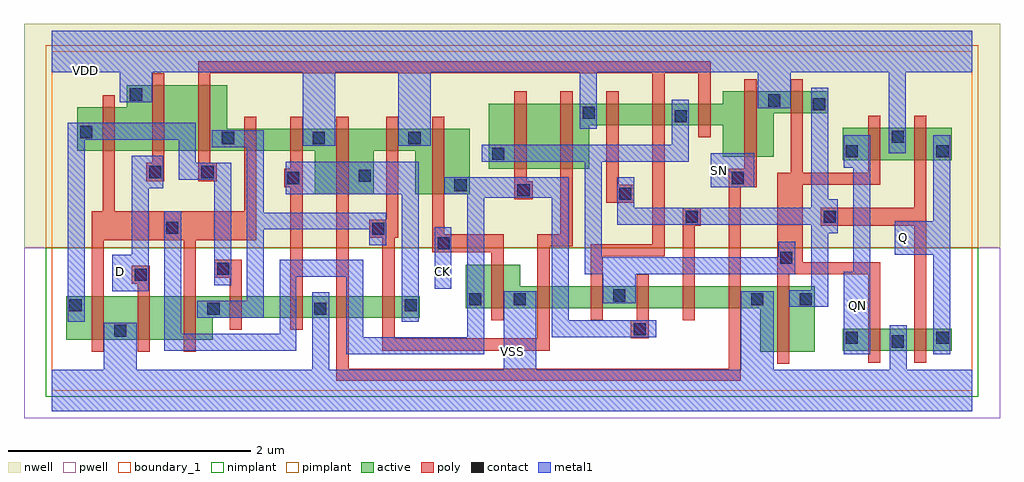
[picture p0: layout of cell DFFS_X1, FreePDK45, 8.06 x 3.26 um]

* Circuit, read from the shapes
.subckt DFFS_X1 CK D Q QN SN VDD VSS
M1 VSS n1 n2 VSUBS nfet w=0.36u l=0.1u
M2 n3 D VSS VSUBS nfet w=0.36u l=0.1u
M3 n4 n1 n3 VSUBS nfet w=0.36u l=0.1u
M4 n5 n2 n4 VSUBS nfet w=0.18u l=0.1u
M5 VSS n6 n5 VSUBS nfet w=0.18u l=0.1u
M6 n7 SN VSS VSUBS nfet w=0.18u l=0.1u
M7 n6 n4 n7 VSUBS nfet w=0.18u l=0.1u
M8 VSS CK n1 VSUBS nfet w=0.36u l=0.1u
M9 n8 n4 VSS VSUBS nfet w=0.18u l=0.1u
M10 n9 n2 n8 VSUBS nfet w=0.18u l=0.1u
M11 n10 n1 n9 VSUBS nfet w=0.18u l=0.1u
M12 n11 n12 n10 VSUBS nfet w=0.18u l=0.1u
M13 VSS SN n11 VSUBS nfet w=0.18u l=0.1u
M14 n12 n9 VSS VSUBS nfet w=0.54u l=0.1u
M15 VSS n9 QN VSUBS nfet w=0.18u l=0.1u
M16 Q n12 VSS VSUBS nfet w=0.18u l=0.1u
M17 VDD n1 n2 n13 pfet w=0.36u l=0.1u
M18 n14 D VDD n13 pfet w=0.54u l=0.1u
M19 n4 n2 n14 n13 pfet w=0.54u l=0.1u
M20 n15 n1 n4 n13 pfet w=0.18u l=0.1u
M21 VDD n6 n15 n13 pfet w=0.18u l=0.1u
M22 n6 SN VDD n13 pfet w=0.54u l=0.1u
M23 VDD n4 n6 n13 pfet w=0.18u l=0.1u
M24 n1 CK VDD n13 pfet w=0.54u l=0.1u
M25 n16 n1 n9 n13 pfet w=0.54u l=0.1u
M26 VDD n4 n16 n13 pfet w=0.54u l=0.1u
M27 n17 n12 VDD n13 pfet w=0.18u l=0.1u
M28 n9 n2 n17 n13 pfet w=0.18u l=0.1u
M29 n18 n2 n9 n13 pfet w=0.18u l=0.1u
M30 VDD SN n18 n13 pfet w=0.54u l=0.1u
M31 n12 n9 VDD n13 pfet w=0.18u l=0.1u
M32 VDD n9 QN n13 pfet w=0.27u l=0.1u
M33 Q n12 VDD n13 pfet w=0.27u l=0.1u
.ends

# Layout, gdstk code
import gdstk
lib = gdstk.Library(unit=1e-6, precision=1e-09)
def R(c, l, rs):  # rectangles x0, y0, x1, y1
    for r in rs: c.add(gdstk.rectangle(r[:2], r[2:], *l))
def P(c, l, *ps):  # polygons
    for p in ps: c.add(gdstk.Polygon(p, *l))
active = (1, 0)
pwell = (2, 0)
nwell = (3, 0)
nimplant = (4, 0)
pimplant = (5, 0)
poly = (9, 0)
contact = (10, 0)
metal1 = (11, 0)
boundary_1 = (235, 1)

dffs_x1 = lib.new_cell('DFFS_X1')
R(dffs_x1, active, [(6.53,0.33,7.43,0.51), (6.53,1.9,7.43,2.17)])
P(dffs_x1, active, [(3.61,1.83),(4.44,1.83),(4.44,2.19),(5.54,2.19),(5.54,1.93),(5.96,1.93),(5.96,2.29),(6.41,2.29),(6.41,2.47),(5.54,2.47),(5.54,2.37),(3.61,2.37)],
  [(3.42,0.68),(5.85,0.68),(5.85,0.32),(6.3,0.32),(6.3,0.86),(3.87,0.86),(3.87,1.04),(3.42,1.04)],
  [(0.21,1.98),(2.17,1.98),(2.17,1.62),(2.66,1.62),(2.66,1.98),(3,1.98),(3,1.62),(3.45,1.62),(3.45,2.16),(1.45,2.16),(1.45,2.52),(0.62,2.52),(0.62,2.34),(0.21,2.34)],
  [(0.12,0.42),(1.33,0.42),(1.33,0.6),(3.04,0.6),(3.04,0.78),(0.12,0.78)])
R(dffs_x1, pwell, [(-0.23,-0.23,7.83,1.18)])
R(dffs_x1, nwell, [(-0.23,1.18,7.83,3.03)])
R(dffs_x1, nimplant, [(-0.05,-0.05,7.65,1.18)])
R(dffs_x1, pimplant, [(-0.05,1.18,7.65,2.85)])
P(dffs_x1, poly, [(6.35,1.36),(7.12,1.36),(7.12,0.23),(7.22,0.23),(7.22,2.27),(7.12,2.27),(7.12,1.51),(6.35,1.51)],
  [(6.2,1.7),(6.84,1.7),(6.84,2.27),(6.74,2.27),(6.74,1.8),(6.2,1.8),(6.2,2.57),(6.1,2.57),(6.1,1.8),(5.99,1.8),(5.99,0.22),(6.09,0.22),(6.09,0.96),(6.74,0.96),(6.74,0.23),(6.84,0.23),(6.84,1.06),(6.2,1.06)],
  [(2.35,0.08),(5.69,0.08),(5.69,1.68),(5.82,1.68),(5.82,2.57),(5.72,2.57),(5.72,1.83),(5.59,1.83),(5.59,0.18),(2.45,0.18),(2.45,2.26),(2.35,2.26)],
  [(1.31,2.62),(4.96,2.62),(4.96,1.21),(4.45,1.21),(4.45,0.58),(4.55,0.58),(4.55,1.11),(5.06,1.11),(5.06,2.62),(5.34,2.62),(5.34,2.09),(5.44,2.09),(5.44,2.72),(1.21,2.72),(1.21,1.73),(1.36,1.73),(1.36,1.88),(1.31,1.88)],
  [(5.21,0.58),(5.31,0.58),(5.31,1.36),(5.36,1.36),(5.36,1.51),(5.21,1.51)],
  [(4.78,0.43),(4.93,0.43),(4.93,0.96),(4.83,0.96),(4.83,0.58),(4.78,0.58)],
  [(4.58,1.55),(4.81,1.55),(4.81,1.7),(4.68,1.7),(4.68,2.47),(4.58,2.47)],
  [(2.62,1.26),(2.73,1.26),(2.73,0.33),(4.11,0.33),(4.11,1.19),(4.3,1.19),(4.3,2.47),(4.2,2.47),(4.2,1.29),(4.01,1.29),(4.01,0.43),(2.83,0.43),(2.83,1.26),(2.86,1.26),(2.86,2.26),(2.76,2.26),(2.76,1.41),(2.62,1.41)],
  [(3.82,1.58),(3.97,1.58),(3.97,1.73),(3.92,1.73),(3.92,2.47),(3.82,2.47)],
  [(3.14,1.14),(3.63,1.14),(3.63,0.58),(3.73,0.58),(3.73,1.29),(3.24,1.29),(3.24,2.26),(3.14,2.26)],
  [(1.92,1.68),(1.97,1.68),(1.97,0.5),(2.07,0.5),(2.07,2.26),(1.97,2.26),(1.97,1.83),(1.92,1.83)],
  [(0.33,0.32),(0.43,0.32),(0.43,1.24),(1.09,1.24),(1.09,0.32),(1.19,0.32),(1.19,1.24),(1.69,1.24),(1.69,2.26),(1.59,2.26),(1.59,1.48),(0.52,1.48),(0.52,2.44),(0.42,2.44),(0.42,1.48),(0.33,1.48)],
  [(1.34,0.93),(1.47,0.93),(1.47,0.5),(1.57,0.5),(1.57,1.08),(1.34,1.08)],
  [(0.78,1.73),(0.93,1.73),(0.93,2.62),(0.83,2.62),(0.83,1.88),(0.78,1.88)],
  [(0.66,0.88),(0.71,0.88),(0.71,0.32),(0.81,0.32),(0.81,1.03),(0.66,1.03)])
R(dffs_x1, contact, [(6.935,0.355,7.035,0.455), (6.555,0.385,6.655,0.485), (7.305,0.385,7.405,0.485), (0.515,0.445,0.615,0.545), (4.805,0.455,4.905,0.555), (1.285,0.625,1.385,0.725), (2.165,0.625,2.265,0.725), (0.145,0.655,0.245,0.755), (2.915,0.655,3.015,0.755), (3.445,0.705,3.545,0.805), (3.815,0.705,3.915,0.805), (5.775,0.705,5.875,0.805), (6.175,0.705,6.275,0.805), (4.635,0.735,4.735,0.835), (0.685,0.905,0.785,1.005), (1.365,0.955,1.465,1.055), (6.015,1.045,6.115,1.145), (3.185,1.165,3.285,1.265), (2.645,1.285,2.745,1.385), (0.945,1.295,1.045,1.395), (5.235,1.385,5.335,1.485), (6.375,1.385,6.475,1.485), (4.685,1.575,4.785,1.675), (3.845,1.605,3.945,1.705), (3.325,1.645,3.425,1.745), (1.945,1.705,2.045,1.805), (5.615,1.705,5.715,1.805), (2.535,1.725,2.635,1.825), (0.805,1.755,0.905,1.855), (1.235,1.755,1.335,1.855), (3.635,1.905,3.735,2.005), (6.555,1.925,6.655,2.025), (7.305,1.925,7.405,2.025), (1.405,2.035,1.505,2.135), (2.155,2.035,2.255,2.135), (2.945,2.035,3.045,2.135), (6.935,2.045,7.035,2.145), (0.235,2.085,0.335,2.185), (5.145,2.215,5.245,2.315), (4.385,2.245,4.485,2.345), (6.285,2.315,6.385,2.415), (5.915,2.345,6.015,2.445), (0.645,2.395,0.745,2.495)])
R(dffs_x1, metal1, [(3.16,0.84,3.3,1.35), (3.16,0.84,3.3,1.35), (5.44,1.68,5.8,1.96), (5.44,1.68,5.8,1.96)])
P(dffs_x1, metal1, [(0.5,0.82),(0.8,0.82),(0.8,1.67),(0.92,1.67),(0.92,1.94),(0.66,1.94),(0.66,1.12),(0.5,1.12)],
  [(0,-0.17),(7.6,-0.17),(7.6,0.17),(7.06,0.17),(7.06,0.54),(6.92,0.54),(6.92,0.17),(5.96,0.17),(5.96,0.82),(5.69,0.82),(5.69,0.17),(4,0.17),(4,0.82),(3.73,0.82),(3.73,0.17),(2.29,0.17),(2.29,0.81),(2.15,0.81),(2.15,0.17),(0.7,0.17),(0.7,0.56),(0.43,0.56),(0.43,0.17),(0,0.17)],
  [(6.96,1.12),(7.28,1.12),(7.28,0.3),(7.42,0.3),(7.42,2.11),(7.28,2.11),(7.28,1.4),(6.96,1.4)],
  [(0,2.63),(0.56,2.63),(0.56,2.38),(0.83,2.38),(0.83,2.63),(2.07,2.63),(2.07,2.02),(2.34,2.02),(2.34,2.63),(2.86,2.63),(2.86,2.02),(3.13,2.02),(3.13,2.63),(4.36,2.63),(4.36,2.16),(4.5,2.16),(4.5,2.63),(5.83,2.63),(5.83,2.33),(6.1,2.33),(6.1,2.63),(6.91,2.63),(6.91,1.96),(7.05,1.96),(7.05,2.63),(7.6,2.63),(7.6,2.97),(0,2.97)],
  [(6.54,1.84),(6.62,1.84),(6.62,0.98),(6.54,0.98),(6.54,0.3),(6.76,0.3),(6.76,2.11),(6.54,2.11)],
  [(0,2.63),(0.56,2.63),(0.56,2.38),(0.83,2.38),(0.83,2.63),(2.07,2.63),(2.07,2.02),(2.34,2.02),(2.34,2.63),(2.86,2.63),(2.86,2.02),(3.13,2.02),(3.13,2.63),(4.36,2.63),(4.36,2.16),(4.5,2.16),(4.5,2.63),(5.83,2.63),(5.83,2.33),(6.1,2.33),(6.1,2.63),(6.91,2.63),(6.91,1.96),(7.05,1.96),(7.05,2.63),(7.6,2.63),(7.6,2.97),(0,2.97)],
  [(0,-0.17),(7.6,-0.17),(7.6,0.17),(7.06,0.17),(7.06,0.54),(6.92,0.54),(6.92,0.17),(5.96,0.17),(5.96,0.82),(5.69,0.82),(5.69,0.17),(4,0.17),(4,0.82),(3.73,0.82),(3.73,0.17),(2.29,0.17),(2.29,0.81),(2.15,0.81),(2.15,0.17),(0.7,0.17),(0.7,0.56),(0.43,0.56),(0.43,0.17),(0,0.17)],
  [(6.96,1.12),(7.28,1.12),(7.28,0.3),(7.42,0.3),(7.42,2.11),(7.28,2.11),(7.28,1.4),(6.96,1.4)],
  [(6.54,1.84),(6.62,1.84),(6.62,0.98),(6.54,0.98),(6.54,0.3),(6.76,0.3),(6.76,2.11),(6.54,2.11)],
  [(4.67,1.37),(6.27,1.37),(6.27,0.83),(6.09,0.83),(6.09,0.69),(6.41,0.69),(6.41,1.3),(6.49,1.3),(6.49,1.58),(6.41,1.58),(6.41,2.5),(6.27,2.5),(6.27,1.51),(4.81,1.51),(4.81,1.76),(4.67,1.76)],
  [(3.55,1.89),(4.4,1.89),(4.4,0.96),(4.55,0.96),(4.55,0.72),(4.82,0.72),(4.82,0.96),(6.14,0.96),(6.14,1.23),(6,1.23),(6,1.1),(4.54,1.1),(4.54,1.89),(5.26,1.89),(5.26,2.4),(5.12,2.4),(5.12,2.03),(3.55,2.03)],
  [(3.24,1.62),(3.43,1.62),(3.43,0.44),(2.57,0.44),(2.57,1.08),(1.88,1.08),(1.88,0.47),(1.07,0.47),(1.07,1.48),(0.93,1.48),(0.93,0.33),(2.02,0.33),(2.02,0.94),(2.43,0.94),(2.43,0.3),(3.57,0.3),(3.57,1.59),(4.13,1.59),(4.13,0.44),(4.99,0.44),(4.99,0.58),(4.27,0.58),(4.27,1.76),(3.24,1.76)],
  [(1.93,1.62),(2.89,1.62),(2.89,0.57),(3.03,0.57),(3.03,1.89),(1.93,1.89)],
  [(1.32,2.01),(1.61,2.01),(1.61,0.74),(1.2,0.74),(1.2,0.6),(1.75,0.6),(1.75,1.33),(2.62,1.33),(2.62,1.2),(2.76,1.2),(2.76,1.47),(1.75,1.47),(1.75,2.15),(1.32,2.15)],
  [(0.13,0.57),(0.27,0.57),(0.27,2.07),(1.05,2.07),(1.05,1.74),(1.34,1.74),(1.34,0.87),(1.48,0.87),(1.48,1.88),(1.19,1.88),(1.19,2.21),(0.13,2.21)],
  [(0.5,0.82),(0.8,0.82),(0.8,1.67),(0.92,1.67),(0.92,1.94),(0.66,1.94),(0.66,1.12),(0.5,1.12)])
R(dffs_x1, boundary_1, [(0,0,7.6,2.8)])
dffs_x1.add(gdstk.Label('VSS', (3.8,0.325), layer=11, texttype=0))
dffs_x1.add(gdstk.Label('VDD', (0.28,2.64), layer=11, texttype=0))
dffs_x1.add(gdstk.Label('SN', (5.51,1.82), layer=11, texttype=0))
dffs_x1.add(gdstk.Label('QN', (6.65,0.7), layer=11, texttype=0))
dffs_x1.add(gdstk.Label('Q', (7.03,1.26), layer=11, texttype=0))
dffs_x1.add(gdstk.Label('D', (0.57,0.98), layer=11, texttype=0))
dffs_x1.add(gdstk.Label('CK', (3.23,0.98), layer=11, texttype=0))

lib.write_gds('DFFS_X1.gds')
